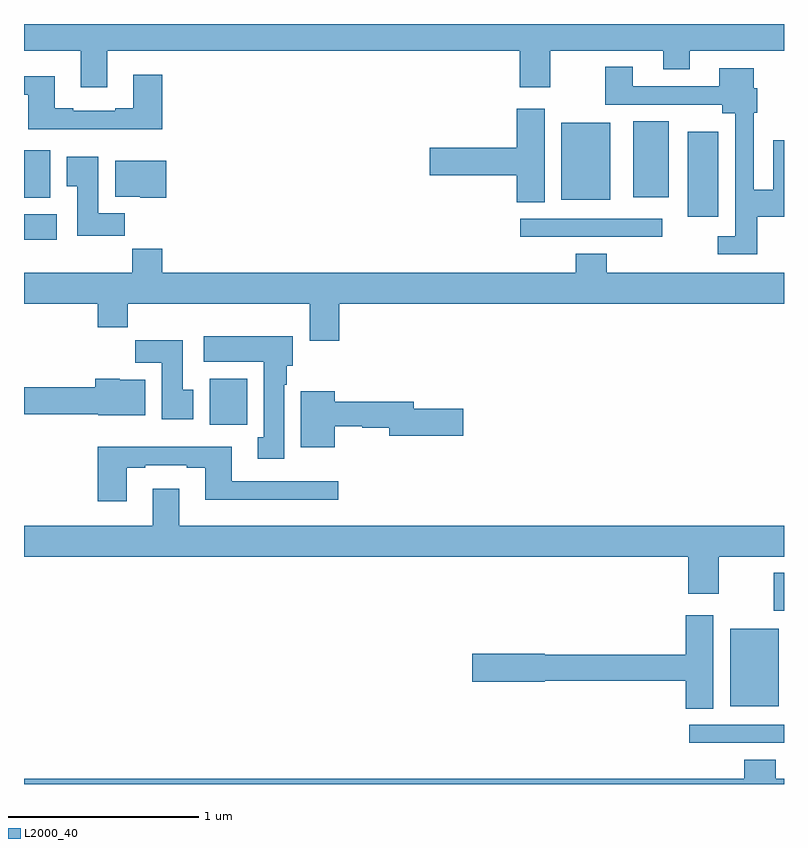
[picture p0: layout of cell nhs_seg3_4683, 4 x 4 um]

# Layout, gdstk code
import gdstk
lib = gdstk.Library(unit=1e-6, precision=1e-09)
def R(c, l, rs):  # rectangles x0, y0, x1, y1
    for r in rs: c.add(gdstk.rectangle(r[:2], r[2:], *l))
def P(c, l, *ps):  # polygons
    for p in ps: c.add(gdstk.Polygon(p, *l))
L2000_40 = (2000, 40)

nhs_seg3_4683 = lib.new_cell('nhs_seg3_4683')
R(nhs_seg3_4683, L2000_40, [(366.501,686.616,367,686.712), (366.716,686.81,366.973,687.217), (366.946,687.312,367,687.511), (363.977,688.292,364.174,688.534), (363,689.264,363.172,689.398), (365.613,689.28,366.358,689.376), (366.494,689.385,366.655,689.833), (365.828,689.474,366.085,689.881), (363,689.486,363.139,689.736), (366.206,689.489,366.394,689.887)])
P(nhs_seg3_4683, L2000_40, [(363,690.26),(363.299,690.26),(363.299,690.066),(363.439,690.066),(363.439,690.26),(365.609,690.26),(365.609,690.066),(365.769,690.066),(365.769,690.26),(366.365,690.26),(366.365,690.161),(366.505,690.161),(366.505,690.26),(367,690.26),(367,690.4),(363,690.4)],
  [(366.86,689.386),(367,689.386),(367,689.788),(366.944,689.788),(366.944,689.528),(366.84,689.528),(366.84,689.934),(366.86,689.934),(366.86,690.062),(366.841,690.062),(366.841,690.166),(366.659,690.166),(366.659,690.072),(366.205,690.072),(366.205,690.175),(366.058,690.175),(366.058,689.976),(366.674,689.976),(366.674,689.93),(366.744,689.93),(366.744,689.283),(366.651,689.283),(366.651,689.187),(366.86,689.187)],
  [(363.728,690.133),(363.575,690.133),(363.575,689.956),(363.479,689.956),(363.479,689.943),(363.259,689.943),(363.259,689.956),(363.163,689.956),(363.163,690.124),(363,690.124),(363,690.027),(363.023,690.027),(363.023,689.846),(363.728,689.846)],
  [(365.74,689.953),(365.594,689.953),(365.594,689.75),(365.136,689.75),(365.136,689.603),(365.594,689.603),(365.594,689.461),(365.74,689.461)],
  [(363.53,689.404),(363.391,689.404),(363.391,689.701),(363.224,689.701),(363.224,689.545),(363.281,689.545),(363.281,689.286),(363.53,689.286)],
  [(363.748,689.68),(363.479,689.68),(363.479,689.492),(363.612,689.492),(363.612,689.486),(363.748,689.486)],
  [(364.658,688.928),(367,688.928),(367,689.092),(366.068,689.092),(366.068,689.191),(365.903,689.191),(365.903,689.092),(363.728,689.092),(363.728,689.216),(363.571,689.216),(363.571,689.092),(363,689.092),(363,688.928),(363.389,688.928),(363.389,688.804),(363.545,688.804),(363.545,688.928),(364.505,688.928),(364.505,688.734),(364.658,688.734)],
  [(364.369,688.502),(364.384,688.502),(364.384,688.602),(364.414,688.602),(364.414,688.756),(363.945,688.756),(363.945,688.622),(364.262,688.622),(364.262,688.226),(364.229,688.226),(364.229,688.113),(364.369,688.113)],
  [(363.892,688.476),(363.835,688.476),(363.835,688.735),(363.586,688.735),(363.586,688.616),(363.725,688.616),(363.725,688.32),(363.892,688.32)],
  [(363.637,688.528),(363.504,688.528),(363.504,688.534),(363.374,688.534),(363.374,688.488),(363,688.488),(363,688.346),(363.39,688.346),(363.39,688.34),(363.637,688.34)],
  [(364.636,688.284),(364.779,688.284),(364.779,688.276),(364.922,688.276),(364.922,688.234),(365.311,688.234),(365.311,688.376),(365.05,688.376),(365.05,688.412),(364.636,688.412),(364.636,688.468),(364.457,688.468),(364.457,688.172),(364.636,688.172)],
  [(363.541,688.065),(363.637,688.065),(363.637,688.077),(363.857,688.077),(363.857,688.065),(363.953,688.065),(363.953,687.896),(364.654,687.896),(364.654,687.993),(364.093,687.993),(364.093,688.174),(363.389,688.174),(363.389,687.888),(363.541,687.888)],
  [(366.657,687.596),(367,687.596),(367,687.76),(363.817,687.76),(363.817,687.955),(363.677,687.955),(363.677,687.76),(363,687.76),(363,687.596),(366.497,687.596),(366.497,687.402),(366.657,687.402)],
  [(366.628,687.289),(366.482,687.289),(366.482,687.08),(365.742,687.08),(365.742,687.086),(365.358,687.086),(365.358,686.939),(365.742,686.939),(365.742,686.944),(366.482,686.944),(366.482,686.797),(366.628,686.797)],
  [(367,686.428),(366.956,686.428),(366.956,686.527),(366.791,686.527),(366.791,686.428),(363,686.428),(363,686.4),(367,686.4)])

lib.write_gds('nhs_seg3_4683.gds')
